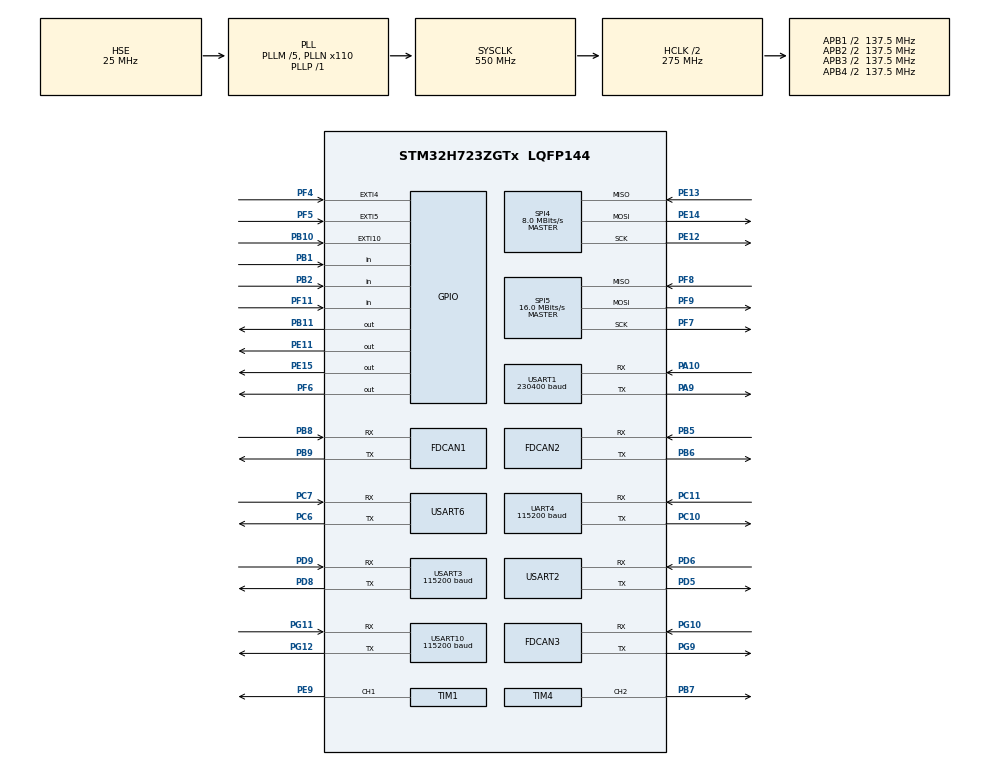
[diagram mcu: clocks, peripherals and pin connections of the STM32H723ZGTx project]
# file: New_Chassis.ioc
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CORTEX_M7.default_mode_Activation=1
Dma.Request0=USART2_RX
Dma.Request1=USART2_TX
Dma.Request2=UART4_RX
Dma.Request3=UART4_TX
Dma.Request4=TIM4_CH2
Dma.Request5=TIM1_CH1
Dma.Request6=USART1_RX
Dma.Request7=USART1_TX
Dma.Request8=USART3_RX
Dma.Request9=USART10_RX
Dma.TIM1_CH1.5.Direction=DMA_MEMORY_TO_PERIPH
Dma.TIM1_CH1.5.EventEnable=DISABLE
Dma.TIM1_CH1.5.FIFOMode=DMA_FIFOMODE_DISABLE
Dma.TIM1_CH1.5.Instance=DMA1_Stream5
Dma.TIM1_CH1.5.MemDataAlignment=DMA_MDATAALIGN_WORD
Dma.TIM1_CH1.5.MemInc=DMA_MINC_ENABLE
Dma.TIM1_CH1.5.Mode=DMA_NORMAL
Dma.TIM1_CH1.5.PeriphDataAlignment=DMA_PDATAALIGN_WORD
Dma.TIM1_CH1.5.PeriphInc=DMA_PINC_DISABLE
Dma.TIM1_CH1.5.Polarity=HAL_DMAMUX_REQ_GEN_RISING
Dma.TIM1_CH1.5.Priority=DMA_PRIORITY_LOW
Dma.TIM1_CH1.5.RequestNumber=1
Dma.TIM1_CH1.5.SignalID=NONE
Dma.TIM1_CH1.5.SyncEnable=DISABLE
Dma.TIM1_CH1.5.SyncPolarity=HAL_DMAMUX_SYNC_NO_EVENT
Dma.TIM1_CH1.5.SyncRequestNumber=1
Dma.TIM1_CH1.5.SyncSignalID=NONE
Dma.TIM4_CH2.4.Direction=DMA_MEMORY_TO_PERIPH
Dma.TIM4_CH2.4.EventEnable=DISABLE
Dma.TIM4_CH2.4.FIFOMode=DMA_FIFOMODE_DISABLE
Dma.TIM4_CH2.4.Instance=DMA1_Stream1
Dma.TIM4_CH2.4.MemDataAlignment=DMA_MDATAALIGN_WORD
Dma.TIM4_CH2.4.MemInc=DMA_MINC_ENABLE
Dma.TIM4_CH2.4.Mode=DMA_NORMAL
Dma.TIM4_CH2.4.PeriphDataAlignment=DMA_PDATAALIGN_WORD
Dma.TIM4_CH2.4.PeriphInc=DMA_PINC_DISABLE
Dma.TIM4_CH2.4.Polarity=HAL_DMAMUX_REQ_GEN_RISING
Dma.TIM4_CH2.4.Priority=DMA_PRIORITY_LOW
Dma.TIM4_CH2.4.RequestNumber=1
Dma.TIM4_CH2.4.SignalID=NONE
Dma.TIM4_CH2.4.SyncEnable=DISABLE
Dma.TIM4_CH2.4.SyncPolarity=HAL_DMAMUX_SYNC_NO_EVENT
Dma.TIM4_CH2.4.SyncRequestNumber=1
Dma.TIM4_CH2.4.SyncSignalID=NONE
Dma.UART4_RX.2.Direction=DMA_PERIPH_TO_MEMORY
Dma.UART4_RX.2.EventEnable=DISABLE
Dma.UART4_RX.2.FIFOMode=DMA_FIFOMODE_DISABLE
Dma.UART4_RX.2.Instance=DMA1_Stream2
Dma.UART4_RX.2.MemDataAlignment=DMA_MDATAALIGN_BYTE
Dma.UART4_RX.2.MemInc=DMA_MINC_ENABLE
Dma.UART4_RX.2.Mode=DMA_NORMAL
Dma.UART4_RX.2.PeriphDataAlignment=DMA_PDATAALIGN_BYTE
Dma.UART4_RX.2.PeriphInc=DMA_PINC_DISABLE
Dma.UART4_RX.2.Polarity=HAL_DMAMUX_REQ_GEN_RISING
Dma.UART4_RX.2.Priority=DMA_PRIORITY_LOW
Dma.UART4_RX.2.RequestNumber=1
Dma.UART4_RX.2.SignalID=NONE
Dma.UART4_RX.2.SyncEnable=DISABLE
Dma.UART4_RX.2.SyncPolarity=HAL_DMAMUX_SYNC_NO_EVENT
Dma.UART4_RX.2.SyncRequestNumber=1
Dma.UART4_RX.2.SyncSignalID=NONE
Dma.UART4_TX.3.Direction=DMA_MEMORY_TO_PERIPH
Dma.UART4_TX.3.EventEnable=DISABLE
Dma.UART4_TX.3.FIFOMode=DMA_FIFOMODE_DISABLE
Dma.UART4_TX.3.Instance=DMA1_Stream4
Dma.UART4_TX.3.MemDataAlignment=DMA_MDATAALIGN_BYTE
Dma.UART4_TX.3.MemInc=DMA_MINC_ENABLE
Dma.UART4_TX.3.Mode=DMA_NORMAL
Dma.UART4_TX.3.PeriphDataAlignment=DMA_PDATAALIGN_BYTE
Dma.UART4_TX.3.PeriphInc=DMA_PINC_DISABLE
Dma.UART4_TX.3.Polarity=HAL_DMAMUX_REQ_GEN_RISING
Dma.UART4_TX.3.Priority=DMA_PRIORITY_LOW
Dma.UART4_TX.3.RequestNumber=1
Dma.UART4_TX.3.SignalID=NONE
Dma.UART4_TX.3.SyncEnable=DISABLE
Dma.UART4_TX.3.SyncPolarity=HAL_DMAMUX_SYNC_NO_EVENT
Dma.UART4_TX.3.SyncRequestNumber=1
Dma.UART4_TX.3.SyncSignalID=NONE
Dma.USART10_RX.9.Direction=DMA_PERIPH_TO_MEMORY
Dma.USART10_RX.9.EventEnable=DISABLE
Dma.USART10_RX.9.FIFOMode=DMA_FIFOMODE_DISABLE
Dma.USART10_RX.9.Instance=DMA2_Stream1
Dma.USART10_RX.9.MemDataAlignment=DMA_MDATAALIGN_BYTE
Dma.USART10_RX.9.MemInc=DMA_MINC_ENABLE
Dma.USART10_RX.9.Mode=DMA_NORMAL
Dma.USART10_RX.9.PeriphDataAlignment=DMA_PDATAALIGN_BYTE
Dma.USART10_RX.9.PeriphInc=DMA_PINC_DISABLE
Dma.USART10_RX.9.Polarity=HAL_DMAMUX_REQ_GEN_RISING
Dma.USART10_RX.9.Priority=DMA_PRIORITY_LOW
Dma.USART10_RX.9.RequestNumber=1
Dma.USART10_RX.9.SignalID=NONE
Dma.USART10_RX.9.SyncEnable=DISABLE
Dma.USART10_RX.9.SyncPolarity=HAL_DMAMUX_SYNC_NO_EVENT
Dma.USART10_RX.9.SyncRequestNumber=1
Dma.USART10_RX.9.SyncSignalID=NONE
Dma.USART1_RX.6.Direction=DMA_PERIPH_TO_MEMORY
Dma.USART1_RX.6.EventEnable=DISABLE
Dma.USART1_RX.6.FIFOMode=DMA_FIFOMODE_DISABLE
Dma.USART1_RX.6.Instance=DMA1_Stream7
Dma.USART1_RX.6.MemDataAlignment=DMA_MDATAALIGN_BYTE
Dma.USART1_RX.6.MemInc=DMA_MINC_ENABLE
Dma.USART1_RX.6.Mode=DMA_NORMAL
Dma.USART1_RX.6.PeriphDataAlignment=DMA_PDATAALIGN_BYTE
Dma.USART1_RX.6.PeriphInc=DMA_PINC_DISABLE
Dma.USART1_RX.6.Polarity=HAL_DMAMUX_REQ_GEN_RISING
Dma.USART1_RX.6.Priority=DMA_PRIORITY_LOW
Dma.USART1_RX.6.RequestNumber=1
Dma.USART1_RX.6.SignalID=NONE
Dma.USART1_RX.6.SyncEnable=DISABLE
Dma.USART1_RX.6.SyncPolarity=HAL_DMAMUX_SYNC_NO_EVENT
Dma.USART1_RX.6.SyncRequestNumber=1
Dma.USART1_RX.6.SyncSignalID=NONE
Dma.USART1_TX.7.Direction=DMA_MEMORY_TO_PERIPH
Dma.USART1_TX.7.EventEnable=DISABLE
Dma.USART1_TX.7.FIFOMode=DMA_FIFOMODE_DISABLE
Dma.USART1_TX.7.Instance=DMA2_Stream0
Dma.USART1_TX.7.MemDataAlignment=DMA_MDATAALIGN_BYTE
Dma.USART1_TX.7.MemInc=DMA_MINC_ENABLE
Dma.USART1_TX.7.Mode=DMA_NORMAL
Dma.USART1_TX.7.PeriphDataAlignment=DMA_PDATAALIGN_BYTE
Dma.USART1_TX.7.PeriphInc=DMA_PINC_DISABLE
Dma.USART1_TX.7.Polarity=HAL_DMAMUX_REQ_GEN_RISING
Dma.USART1_TX.7.Priority=DMA_PRIORITY_LOW
Dma.USART1_TX.7.RequestNumber=1
Dma.USART1_TX.7.SignalID=NONE
Dma.USART1_TX.7.SyncEnable=DISABLE
Dma.USART1_TX.7.SyncPolarity=HAL_DMAMUX_SYNC_NO_EVENT
Dma.USART1_TX.7.SyncRequestNumber=1
Dma.USART1_TX.7.SyncSignalID=NONE
Dma.USART2_RX.0.Direction=DMA_PERIPH_TO_MEMORY
Dma.USART2_RX.0.EventEnable=DISABLE
Dma.USART2_RX.0.FIFOMode=DMA_FIFOMODE_DISABLE
Dma.USART2_RX.0.Instance=DMA1_Stream0
Dma.USART2_RX.0.MemDataAlignment=DMA_MDATAALIGN_BYTE
Dma.USART2_RX.0.MemInc=DMA_MINC_ENABLE
Dma.USART2_RX.0.Mode=DMA_NORMAL
Dma.USART2_RX.0.PeriphDataAlignment=DMA_PDATAALIGN_BYTE
Dma.USART2_RX.0.PeriphInc=DMA_PINC_DISABLE
Dma.USART2_RX.0.Polarity=HAL_DMAMUX_REQ_GEN_RISING
Dma.USART2_RX.0.Priority=DMA_PRIORITY_LOW
Dma.USART2_RX.0.RequestNumber=1
Dma.USART2_RX.0.SignalID=NONE
Dma.USART2_RX.0.SyncEnable=DISABLE
Dma.USART2_RX.0.SyncPolarity=HAL_DMAMUX_SYNC_NO_EVENT
Dma.USART2_RX.0.SyncRequestNumber=1
Dma.USART2_RX.0.SyncSignalID=NONE
Dma.USART2_TX.1.Direction=DMA_MEMORY_TO_PERIPH
Dma.USART2_TX.1.EventEnable=DISABLE
Dma.USART2_TX.1.FIFOMode=DMA_FIFOMODE_DISABLE
Dma.USART2_TX.1.Instance=DMA1_Stream3
Dma.USART2_TX.1.MemDataAlignment=DMA_MDATAALIGN_BYTE
Dma.USART2_TX.1.MemInc=DMA_MINC_ENABLE
Dma.USART2_TX.1.Mode=DMA_NORMAL
Dma.USART2_TX.1.PeriphDataAlignment=DMA_PDATAALIGN_BYTE
Dma.USART2_TX.1.PeriphInc=DMA_PINC_DISABLE
Dma.USART2_TX.1.Polarity=HAL_DMAMUX_REQ_GEN_RISING
Dma.USART2_TX.1.Priority=DMA_PRIORITY_LOW
Dma.USART2_TX.1.RequestNumber=1
Dma.USART2_TX.1.SignalID=NONE
Dma.USART2_TX.1.SyncEnable=DISABLE
Dma.USART2_TX.1.SyncPolarity=HAL_DMAMUX_SYNC_NO_EVENT
Dma.USART2_TX.1.SyncRequestNumber=1
Dma.USART2_TX.1.SyncSignalID=NONE
Dma.USART3_RX.8.Direction=DMA_PERIPH_TO_MEMORY
Dma.USART3_RX.8.EventEnable=DISABLE
Dma.USART3_RX.8.FIFOMode=DMA_FIFOMODE_DISABLE
Dma.USART3_RX.8.Instance=DMA1_Stream6
Dma.USART3_RX.8.MemDataAlignment=DMA_MDATAALIGN_BYTE
Dma.USART3_RX.8.MemInc=DMA_MINC_ENABLE
Dma.USART3_RX.8.Mode=DMA_NORMAL
Dma.USART3_RX.8.PeriphDataAlignment=DMA_PDATAALIGN_BYTE
Dma.USART3_RX.8.PeriphInc=DMA_PINC_DISABLE
Dma.USART3_RX.8.Polarity=HAL_DMAMUX_REQ_GEN_RISING
Dma.USART3_RX.8.Priority=DMA_PRIORITY_LOW
Dma.USART3_RX.8.RequestNumber=1
Dma.USART3_RX.8.SignalID=NONE
Dma.USART3_RX.8.SyncEnable=DISABLE
Dma.USART3_RX.8.SyncPolarity=HAL_DMAMUX_SYNC_NO_EVENT
Dma.USART3_RX.8.SyncRequestNumber=1
Dma.USART3_RX.8.SyncSignalID=NONE
FDCAN1.CalculateBaudRateNominal=1000000
FDCAN1.CalculateTimeBitNominal=1000
FDCAN1.CalculateTimeQuantumNominal=100.0
FDCAN1.DataPrescaler=12
FDCAN1.DataTimeSeg1=2
FDCAN1.DataTimeSeg2=2
FDCAN1.ExtFiltersNbr=1
FDCAN1.FrameFormat=FDCAN_FRAME_FD_BRS
FDCAN1.NominalPrescaler=12
FDCAN1.NominalTimeSeg1=7
FDCAN1.NominalTimeSeg2=2
FDCAN1.RxBufferSize=FDCAN_DATA_BYTES_64
FDCAN1.RxBuffersNbr=8
FDCAN1.RxFifo0ElmtSize=FDCAN_DATA_BYTES_64
FDCAN1.RxFifo0ElmtsNbr=8
FDCAN1.RxFifo1ElmtSize=FDCAN_DATA_BYTES_64
FDCAN1.RxFifo1ElmtsNbr=8
FDCAN1.StdFiltersNbr=1
FDCAN1.TxBuffersNbr=0
FDCAN1.TxElmtSize=FDCAN_DATA_BYTES_64
FDCAN1.TxFifoQueueElmtsNbr=8
FDCAN2.CalculateBaudRateNominal=500000
FDCAN2.CalculateTimeBitNominal=2000
FDCAN2.CalculateTimeQuantumNominal=100.0
FDCAN2.ExtFiltersNbr=1
FDCAN2.MessageRAMOffset=666
FDCAN2.NominalPrescaler=12
FDCAN2.NominalTimeSeg1=15
FDCAN2.NominalTimeSeg2=4
FDCAN2.RxBufferSize=FDCAN_DATA_BYTES_64
FDCAN2.RxBuffersNbr=8
FDCAN2.RxFifo0ElmtSize=FDCAN_DATA_BYTES_64
FDCAN2.RxFifo0ElmtsNbr=8
FDCAN2.RxFifo1ElmtSize=FDCAN_DATA_BYTES_64
FDCAN2.RxFifo1ElmtsNbr=8
FDCAN2.StdFiltersNbr=1
FDCAN2.TxBuffersNbr=0
FDCAN2.TxElmtSize=FDCAN_DATA_BYTES_64
FDCAN2.TxFifoQueueElmtsNbr=8
FDCAN3.AutoRetransmission=DISABLE
FDCAN3.CalculateBaudRateNominal=1000000
FDCAN3.CalculateTimeBitNominal=1000
FDCAN3.CalculateTimeQuantumNominal=50.0
FDCAN3.DataPrescaler=6
FDCAN3.DataSyncJumpWidth=1
FDCAN3.DataTimeSeg1=7
FDCAN3.DataTimeSeg2=2
FDCAN3.ExtFiltersNbr=1
FDCAN3.FrameFormat=FDCAN_FRAME_FD_BRS
FDCAN3.MessageRAMOffset=666*2
FDCAN3.NominalPrescaler=6
FDCAN3.NominalTimeSeg1=15
FDCAN3.NominalTimeSeg2=4
FDCAN3.RxBufferSize=FDCAN_DATA_BYTES_64
FDCAN3.RxBuffersNbr=8
FDCAN3.RxFifo0ElmtSize=FDCAN_DATA_BYTES_64
FDCAN3.RxFifo0ElmtsNbr=8
FDCAN3.RxFifo1ElmtSize=FDCAN_DATA_BYTES_64
FDCAN3.RxFifo1ElmtsNbr=8
FDCAN3.StdFiltersNbr=1
FDCAN3.TxBuffersNbr=0
FDCAN3.TxElmtSize=FDCAN_DATA_BYTES_64
FDCAN3.TxFifoQueueElmtsNbr=32
FREERTOS.INCLUDE_vTaskDelayUntil=1
FREERTOS.Tasks01=Motor_Control,0,1024,motor_control,As weak,NULL,Dynamic,NULL,NULL;Communication,0,1024,communication,As weak,NULL,Dynamic,NULL,NULL;Location,0,512,location,As weak,NULL,Dynamic,NULL,NULL;myTransmit_task,3,512,StartTransmit_task,As weak,NULL,Dynamic,NULL,NULL;Detect_Wrong,0,512,Detect,As weak,NULL,Dynamic,NULL,NULL;Defense1,0,512,HTMotorControl,As weak,NULL,Dynamic,NULL,NULL;Defense2,-3,512,ParamsChange,As weak,NULL,Dynamic,NULL,NULL
FREERTOS.configTOTAL_HEAP_SIZE=88888
FREERTOS.configUSE_IDLE_HOOK=1
FREERTOS.configUSE_TICK_HOOK=1
Mcu.Family=STM32H7
Mcu.Name=STM32H723ZGTx
Mcu.Package=LQFP144
NVIC.DMA1_Stream0_IRQn=true\:5\:0\:false\:false\:true\:true\:false\:true\:true
NVIC.DMA1_Stream1_IRQn=true\:5\:0\:false\:false\:true\:true\:false\:true\:true
NVIC.DMA1_Stream2_IRQn=true\:5\:0\:false\:false\:true\:true\:false\:true\:true
NVIC.DMA1_Stream3_IRQn=true\:5\:0\:false\:false\:true\:true\:false\:true\:true
NVIC.DMA1_Stream4_IRQn=true\:5\:0\:false\:false\:true\:true\:false\:true\:true
NVIC.DMA1_Stream5_IRQn=true\:5\:0\:false\:false\:true\:true\:false\:true\:true
NVIC.DMA1_Stream6_IRQn=true\:5\:0\:false\:false\:true\:true\:false\:true\:true
NVIC.DMA1_Stream7_IRQn=true\:5\:0\:false\:false\:true\:true\:false\:true\:true
NVIC.DMA2_Stream0_IRQn=true\:5\:0\:false\:false\:true\:true\:false\:true\:true
NVIC.DMA2_Stream1_IRQn=true\:5\:0\:false\:false\:true\:true\:false\:true\:true
NVIC.EXTI15_10_IRQn=true\:5\:0\:false\:false\:true\:true\:true\:true\:true
NVIC.EXTI4_IRQn=true\:5\:0\:false\:false\:true\:true\:true\:true\:true
NVIC.EXTI9_5_IRQn=true\:5\:0\:false\:false\:true\:true\:true\:true\:true
NVIC.FDCAN1_IT0_IRQn=true\:5\:0\:false\:false\:true\:true\:true\:true\:true
NVIC.FDCAN1_IT1_IRQn=true\:5\:0\:false\:false\:true\:true\:true\:true\:true
NVIC.FDCAN2_IT0_IRQn=true\:5\:0\:false\:false\:true\:true\:true\:true\:true
NVIC.FDCAN2_IT1_IRQn=true\:5\:0\:false\:false\:true\:true\:true\:true\:true
NVIC.FDCAN3_IT0_IRQn=true\:5\:0\:false\:false\:true\:true\:true\:true\:true
NVIC.FDCAN3_IT1_IRQn=true\:5\:0\:false\:false\:true\:true\:true\:true\:true
NVIC.PriorityGroup=NVIC_PRIORITYGROUP_4
NVIC.SPI4_IRQn=true\:5\:0\:false\:false\:true\:true\:true\:true\:true
NVIC.TIM2_IRQn=true\:15\:0\:false\:false\:true\:false\:false\:true\:true
NVIC.TIM3_IRQn=true\:5\:0\:false\:false\:true\:true\:true\:true\:true
NVIC.TIM4_IRQn=true\:5\:0\:false\:false\:true\:true\:true\:true\:true
NVIC.TimeBase=TIM2_IRQn
NVIC.TimeBaseIP=TIM2
NVIC.UART4_IRQn=true\:5\:0\:false\:false\:true\:true\:true\:true\:true
NVIC.USART10_IRQn=true\:5\:0\:false\:false\:true\:true\:true\:true\:true
NVIC.USART1_IRQn=true\:5\:0\:false\:false\:true\:true\:true\:true\:true
NVIC.USART2_IRQn=true\:5\:0\:false\:false\:true\:true\:true\:true\:true
NVIC.USART3_IRQn=true\:5\:0\:false\:false\:true\:true\:true\:true\:true
PA10.GPIO_PuPd=GPIO_PULLDOWN
PA10.GPIO_Speed=GPIO_SPEED_FREQ_VERY_HIGH
PA10.Mode=Asynchronous
PA10.Signal=USART1_RX
PA9.GPIO_PuPd=GPIO_PULLDOWN
PA9.GPIO_Speed=GPIO_SPEED_FREQ_VERY_HIGH
PA9.Mode=Asynchronous
PA9.Signal=USART1_TX
PB1.Signal=GPIO_Input
PB10.GPIO_ModeDefaultEXTI=GPIO_MODE_IT_FALLING
PB10.Signal=GPXTI10
PB11.GPIO_ModeDefaultOutputPP=GPIO_MODE_OUTPUT_PP
PB11.GPIO_PuPd=GPIO_PULLDOWN
PB11.PinState=GPIO_PIN_SET
PB11.Signal=GPIO_Output
PB2.Signal=GPIO_Input
PB5.Mode=FDCAN_Activate
PB5.Signal=FDCAN2_RX
PB6.Mode=FDCAN_Activate
PB6.Signal=FDCAN2_TX
PB7.Signal=S_TIM4_CH2
PB8.Mode=FDCAN_Activate
PB8.Signal=FDCAN1_RX
PB9.Mode=FDCAN_Activate
PB9.Signal=FDCAN1_TX
PC10.Mode=Asynchronous
PC10.Signal=UART4_TX
PC11.GPIO_PuPd=GPIO_PULLUP
PC11.Mode=Asynchronous
PC11.Signal=UART4_RX
PC6.Mode=Asynchronous
PC6.Signal=USART6_TX
PC7.Mode=Asynchronous
PC7.Signal=USART6_RX
PD5.GPIO_PuPd=GPIO_PULLUP
PD5.Mode=Asynchronous
PD5.Signal=USART2_TX
PD6.GPIO_PuPd=GPIO_PULLUP
PD6.Mode=Asynchronous
PD6.Signal=USART2_RX
PD8.GPIO_PuPd=GPIO_PULLUP
PD8.Mode=Asynchronous
PD8.Signal=USART3_TX
PD9.GPIO_PuPd=GPIO_PULLUP
PD9.Mode=Asynchronous
PD9.Signal=USART3_RX
PE11.Signal=GPIO_Output
PE12.Mode=Full_Duplex_Master
PE12.Signal=SPI4_SCK
PE13.Mode=Full_Duplex_Master
PE13.Signal=SPI4_MISO
PE14.Mode=Full_Duplex_Master
PE14.Signal=SPI4_MOSI
PE15.Signal=GPIO_Output
PE9.Signal=S_TIM1_CH1
PF11.Signal=GPIO_Input
PF4.GPIO_ModeDefaultEXTI=GPIO_MODE_IT_FALLING
PF4.GPIO_PuPd=GPIO_PULLUP
PF4.Signal=GPXTI4
PF5.GPIO_ModeDefaultEXTI=GPIO_MODE_IT_FALLING
PF5.GPIO_PuPd=GPIO_PULLUP
PF5.Signal=GPXTI5
PF6.GPIO_PuPd=GPIO_PULLUP
PF6.GPIO_Speed=GPIO_SPEED_FREQ_HIGH
PF6.PinState=GPIO_PIN_RESET
PF6.Signal=GPIO_Output
PF7.Mode=Full_Duplex_Master
PF7.Signal=SPI5_SCK
PF8.Mode=Full_Duplex_Master
PF8.Signal=SPI5_MISO
PF9.Mode=Full_Duplex_Master
PF9.Signal=SPI5_MOSI
PG10.Mode=FDCAN_Activate
PG10.Signal=FDCAN3_RX
PG11.Mode=Asynchronous
PG11.Signal=USART10_RX
PG12.GPIO_PuPd=GPIO_PULLDOWN
PG12.Mode=Asynchronous
PG12.Signal=USART10_TX
PG9.Mode=FDCAN_Activate
PG9.Signal=FDCAN3_TX
PH0-OSC_IN.Mode=HSE-External-Oscillator
PH0-OSC_IN.Signal=RCC_OSC_IN
PH1-OSC_OUT.Mode=HSE-External-Oscillator
PH1-OSC_OUT.Signal=RCC_OSC_OUT
ProjectManager.HeapSize=0x200
ProjectManager.StackSize=0x400
ProjectManager.TargetToolchain=MDK-ARM V5.32
RCC.ADCCLockSelection=RCC_ADCCLKSOURCE_PLL2
RCC.ADCFreq_Value=120000000
RCC.APB1Freq_Value=137500000
RCC.APB2Freq_Value=137500000
RCC.APB3Freq_Value=137500000
RCC.APB4Freq_Value=137500000
RCC.CECCLockSelection=RCC_CECCLKSOURCE_LSI
RCC.CKPERSourceSelection=RCC_CLKPSOURCE_HSI
RCC.CSI_VALUE=4000000
RCC.CortexFreq_Value=550000000
RCC.Cortex_Div=SYSTICK_CLKSOURCE_HCLK
RCC.Cortex_DivARG=SystemCoreClock/1000
RCC.D1CPRE=RCC_SYSCLK_DIV1
RCC.D1PPRE=RCC_APB3_DIV2
RCC.D2PPRE1=RCC_APB1_DIV2
RCC.D2PPRE2=RCC_APB2_DIV2
RCC.D3PPRE=RCC_APB4_DIV2
RCC.DFSDMCLockSelection=RCC_DFSDM1CLKSOURCE_D2PCLK1
RCC.DIVM1=5
RCC.DIVM2=25
RCC.DIVM3=5
RCC.DIVN1=110
RCC.DIVN2=240
RCC.DIVN3=96
RCC.DIVP1=1
RCC.DIVP2=2
RCC.DIVP3=2
RCC.DIVQ1=2
RCC.DIVQ3=15
RCC.DIVR1=2
RCC.DIVR2=2
RCC.DIVR3=2
RCC.EXTERNAL_CLOCK_VALUE=12288000
RCC.EnbaleCSS=false
RCC.FDCANCLockSelection=RCC_FDCANCLKSOURCE_PLL2
RCC.FMCCLockSelection=RCC_FMCCLKSOURCE_D1HCLK
RCC.HCLKFreq_Value=275000000
RCC.HPRE=RCC_HCLK_DIV2
RCC.HSE_VALUE=25000000
RCC.HSI48_VALUE=48000000
RCC.HSIDiv=RCC_PLLSAIDIVR_1
RCC.HSI_VALUE=64000000
RCC.I2C123CLockSelection=RCC_I2C1235CLKSOURCE_D2PCLK1
RCC.I2C4CLockSelection=RCC_I2C4CLKSOURCE_D3PCLK1
RCC.LPTIM1CLockSelection=RCC_LPTIM1CLKSOURCE_D2PCLK1
RCC.LPTIM2CLockSelection=RCC_LPTIM2CLKSOURCE_D3PCLK1
RCC.LPTIM345CLockSelection=RCC_LPTIM345CLKSOURCE_D3PCLK1
RCC.LPUART1CLockSelection=RCC_LPUART1CLKSOURCE_D3PCLK1
RCC.LSEState=RCC_LSE_OFF
RCC.LSE_VALUE=32768
RCC.PLLSourceVirtual=RCC_PLLSOURCE_HSE
RCC.QSPICLockSelection=RCC_OSPICLKSOURCE_D1HCLK
RCC.RCC_MCO1Source=RCC_MCO1SOURCE_HSI
RCC.RCC_MCO2Source=RCC_MCO2SOURCE_SYSCLK
RCC.RCC_MCODiv1=RCC_MCODIV_1
RCC.RCC_MCODiv2=RCC_MCODIV_1
RCC.RCC_RTC_Clock_Source_FROM_HSE=RCC_RTCCLKSOURCE_HSE_DIV2
RCC.RNGCLockSelection=RCC_RNGCLKSOURCE_HSI48
RCC.SAI1CLockSelection=RCC_SAI1CLKSOURCE_PLL
RCC.SAI4ACLockSelection=RCC_SAI4ACLKSOURCE_PLL
RCC.SAI4BCLockSelection=RCC_SAI4BCLKSOURCE_PLL
RCC.SPDIFCLockSelection=RCC_SPDIFRXCLKSOURCE_PLL
RCC.SPI123CLockSelection=RCC_SPI123CLKSOURCE_PLL
RCC.SPI6CLockSelection=RCC_SPI6CLKSOURCE_D3PCLK1
RCC.SWPCLockSelection=RCC_SWPMI1CLKSOURCE_D2PCLK1
RCC.SYSCLKFreq_VALUE=550000000
RCC.SYSCLKSource=RCC_SYSCLKSOURCE_PLLCLK
RCC.Spi45ClockSelection=RCC_SPI45CLKSOURCE_PLL3
RCC.USART16CLockSelection=RCC_USART16910CLKSOURCE_PLL2
RCC.USART234578CLockSelection=RCC_USART234578CLKSOURCE_PLL2
RCC.USBCLockSelection=RCC_USBCLKSOURCE_PLL
RCC.USBFreq_Value=275000000
SH.S_TIM1_CH1.0=TIM1_CH1,PWM Generation1 CH1
SH.S_TIM4_CH2.0=TIM4_CH2,PWM Generation2 CH2
SPI4.BaudRatePrescaler=SPI_BAUDRATEPRESCALER_4
SPI4.CalculateBaudRate=8.0 MBits/s
SPI4.DataSize=SPI_DATASIZE_8BIT
SPI4.Direction=SPI_DIRECTION_2LINES
SPI4.Mode=SPI_MODE_MASTER
SPI4.VirtualType=VM_MASTER
SPI5.BaudRatePrescaler=SPI_BAUDRATEPRESCALER_2
SPI5.CalculateBaudRate=16.0 MBits/s
SPI5.DataSize=SPI_DATASIZE_8BIT
SPI5.Direction=SPI_DIRECTION_2LINES
SPI5.Mode=SPI_MODE_MASTER
SPI5.VirtualType=VM_MASTER
TIM1.Channel-PWM\ Generation1\ CH1=TIM_CHANNEL_1
TIM3.AutoReloadPreload=TIM_AUTORELOAD_PRELOAD_ENABLE
TIM3.Period=100
TIM3.Prescaler=274
TIM4.AutoReloadPreload=TIM_AUTORELOAD_PRELOAD_DISABLE
TIM4.Channel-PWM\ Generation1\ CH1=TIM_CHANNEL_1
TIM4.Channel-PWM\ Generation2\ CH2=TIM_CHANNEL_2
TIM4.OCFastMode_PWM-PWM\ Generation2\ CH2=TIM_OCFAST_ENABLE
TIM4.Period=342
UART4.BaudRate=115200
USART1.BaudRate=230400
USART1.VirtualMode-Asynchronous=VM_ASYNC
USART10.BaudRate=115200
USART10.VirtualMode-Asynchronous=VM_ASYNC
USART2.VirtualMode-Asynchronous=VM_ASYNC
USART3.BaudRate=115200
USART3.VirtualMode-Asynchronous=VM_ASYNC
USART6.VirtualMode-Asynchronous=VM_ASYNC
VP_FREERTOS_VS_CMSIS_V1.Mode=CMSIS_V1
VP_MEMORYMAP_VS_MEMORYMAP.Mode=CurAppReg
VP_SYS_VS_tim2.Mode=TIM2
VP_TIM1_VS_ClockSourceINT.Mode=Internal
VP_TIM3_VS_ClockSourceINT.Mode=Internal
VP_TIM4_VS_ClockSourceINT.Mode=Internal
board=custom

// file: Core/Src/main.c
/* USER CODE BEGIN Header */
/**
  ******************************************************************************
  * @file           : main.c
  * @brief          : Main program body
  ******************************************************************************
  * @attention
  *
  * Copyright (c) 2025 STMicroelectronics.
  * All rights reserved.
  *
  * This software is licensed under terms that can be found in the LICENSE file
  * in the root directory of this software component.
  * If no LICENSE file comes with this software, it is provided AS-IS.
  *
  ******************************************************************************
  */
/* USER CODE END Header */
#include "main.h"
#include "cmsis_os.h"
#include "dma.h"
#include "fdcan.h"
#include "memorymap.h"
#include "spi.h"
#include "tim.h"
#include "usart.h"
#include "gpio.h"

/* USER CODE BEGIN Includes */
#include "SPI_FDCAN.h"
#include "Television.h"
#include "CPU_Load.h"
#include "Interact.h"
#include "Chassis.h"
#include "Can_Bsp.h"
#include "Encoder.h"
#include <string.h>
#include "Global.h"
#include "Basket.h"
#include "Kalman.h"
#include "Guard.h"
#include "Flow.h"
#include "mine.h"
#include "Send.h"
#include "Gyro.h"
#include "RGB.h"
/* USER CODE END Includes */

/* USER CODE BEGIN PV */
FDCAN_RxHeaderTypeDef RxHeader;
/* USER CODE END PV */

void SystemClock_Config(void);
void PeriphCommonClock_Config(void);
static void MPU_Config(void);
void MX_FREERTOS_Init(void);

int main(void)
{

  /* MPU Configuration--------------------------------------------------------*/
  MPU_Config();

  /* MCU Configuration--------------------------------------------------------*/

  /* Reset of all peripherals, Initializes the Flash interface and the Systick. */
  HAL_Init();

  /* Configure the system clock */
  SystemClock_Config();

  /* Configure the peripherals common clocks */
  PeriphCommonClock_Config();

  /* Initialize all configured peripherals */
  MX_GPIO_Init();
  MX_DMA_Init();
  MX_FDCAN1_Init();
  MX_FDCAN2_Init();
  MX_USART2_UART_Init();
  MX_FDCAN3_Init();
  MX_USART10_UART_Init();
  MX_TIM4_Init();
  MX_UART4_Init();
  MX_TIM1_Init();
  MX_USART1_UART_Init();
  MX_USART3_UART_Init();
  MX_USART6_UART_Init();
  MX_TIM3_Init();
  MX_SPI4_Init();
  MX_SPI5_Init();
  /* USER CODE BEGIN 2 */
	FDCAN4_Init();
	RGB_Init();
	Gyro_Init();
	GamePad_Init();
	Encoder_Init();
	TurnMotor_OffsetAngleInit();
	Wireless_init();
	Correct_Angle_Par_Init();
	Mark_PID_Par_Init();
	Guard_Trace_Par_Init();
	BasketAngleLock_ParInit();
	BasketPositionLock_ParInit();
	CPU_Usage_Init();
	SecondOrder_KalmanSystemInit();
  /* USER CODE END 2 */

  /* Call init function for freertos objects (in cmsis_os2.c) */
  MX_FREERTOS_Init();

  /* Start scheduler */
  osKernelStart();

  /* We should never get here as control is now taken by the scheduler */

  /* Infinite loop */
  while (1)
  {

  }
}

void SystemClock_Config(void)
{
  RCC_OscInitTypeDef RCC_OscInitStruct = {0};
  RCC_ClkInitTypeDef RCC_ClkInitStruct = {0};

  /** Supply configuration update enable
  */
  HAL_PWREx_ConfigSupply(PWR_LDO_SUPPLY);

  /** Configure the main internal regulator output voltage
  */
  __HAL_PWR_VOLTAGESCALING_CONFIG(PWR_REGULATOR_VOLTAGE_SCALE0);

  while(!__HAL_PWR_GET_FLAG(PWR_FLAG_VOSRDY)) {}

  /** Initializes the RCC Oscillators according to the specified parameters
  * in the RCC_OscInitTypeDef structure.
  */
  RCC_OscInitStruct.OscillatorType = RCC_OSCILLATORTYPE_HSE;
  RCC_OscInitStruct.HSEState = RCC_HSE_ON;
  RCC_OscInitStruct.PLL.PLLState = RCC_PLL_ON;
  RCC_OscInitStruct.PLL.PLLSource = RCC_PLLSOURCE_HSE;
  RCC_OscInitStruct.PLL.PLLM = 5;
  RCC_OscInitStruct.PLL.PLLN = 110;
  RCC_OscInitStruct.PLL.PLLP = 1;
  RCC_OscInitStruct.PLL.PLLQ = 2;
  RCC_OscInitStruct.PLL.PLLR = 2;
  RCC_OscInitStruct.PLL.PLLRGE = RCC_PLL1VCIRANGE_2;
  RCC_OscInitStruct.PLL.PLLVCOSEL = RCC_PLL1VCOWIDE;
  RCC_OscInitStruct.PLL.PLLFRACN = 0;
  if (HAL_RCC_OscConfig(&RCC_OscInitStruct) != HAL_OK)
  {
    Error_Handler();
  }

  /** Initializes the CPU, AHB and APB buses clocks
  */
  RCC_ClkInitStruct.ClockType = RCC_CLOCKTYPE_HCLK|RCC_CLOCKTYPE_SYSCLK
                              |RCC_CLOCKTYPE_PCLK1|RCC_CLOCKTYPE_PCLK2
                              |RCC_CLOCKTYPE_D3PCLK1|RCC_CLOCKTYPE_D1PCLK1;
  RCC_ClkInitStruct.SYSCLKSource = RCC_SYSCLKSOURCE_PLLCLK;
  RCC_ClkInitStruct.SYSCLKDivider = RCC_SYSCLK_DIV1;
  RCC_ClkInitStruct.AHBCLKDivider = RCC_HCLK_DIV2;
  RCC_ClkInitStruct.APB3CLKDivider = RCC_APB3_DIV2;
  RCC_ClkInitStruct.APB1CLKDivider = RCC_APB1_DIV2;
  RCC_ClkInitStruct.APB2CLKDivider = RCC_APB2_DIV2;
  RCC_ClkInitStruct.APB4CLKDivider = RCC_APB4_DIV2;

  if (HAL_RCC_ClockConfig(&RCC_ClkInitStruct, FLASH_LATENCY_3) != HAL_OK)
  {
    Error_Handler();
  }
}

void PeriphCommonClock_Config(void)
{
  RCC_PeriphCLKInitTypeDef PeriphClkInitStruct = {0};

  /** Initializes the peripherals clock
  */
  PeriphClkInitStruct.PeriphClockSelection = RCC_PERIPHCLK_SPI4|RCC_PERIPHCLK_SPI5
                              |RCC_PERIPHCLK_FDCAN|RCC_PERIPHCLK_USART1
                              |RCC_PERIPHCLK_USART6|RCC_PERIPHCLK_USART10
                              |RCC_PERIPHCLK_UART4|RCC_PERIPHCLK_USART2
                              |RCC_PERIPHCLK_USART3;
  PeriphClkInitStruct.PLL2.PLL2M = 25;
  PeriphClkInitStruct.PLL2.PLL2N = 240;
  PeriphClkInitStruct.PLL2.PLL2P = 2;
  PeriphClkInitStruct.PLL2.PLL2Q = 2;
  PeriphClkInitStruct.PLL2.PLL2R = 2;
  PeriphClkInitStruct.PLL2.PLL2RGE = RCC_PLL2VCIRANGE_0;
  PeriphClkInitStruct.PLL2.PLL2VCOSEL = RCC_PLL2VCOMEDIUM;
  PeriphClkInitStruct.PLL2.PLL2FRACN = 0;
  PeriphClkInitStruct.PLL3.PLL3M = 5;
  PeriphClkInitStruct.PLL3.PLL3N = 96;
  PeriphClkInitStruct.PLL3.PLL3P = 2;
  PeriphClkInitStruct.PLL3.PLL3Q = 15;
  PeriphClkInitStruct.PLL3.PLL3R = 2;
  PeriphClkInitStruct.PLL3.PLL3RGE = RCC_PLL3VCIRANGE_2;
  PeriphClkInitStruct.PLL3.PLL3VCOSEL = RCC_PLL3VCOWIDE;
  PeriphClkInitStruct.PLL3.PLL3FRACN = 0;
  PeriphClkInitStruct.Spi45ClockSelection = RCC_SPI45CLKSOURCE_PLL3;
  PeriphClkInitStruct.FdcanClockSelection = RCC_FDCANCLKSOURCE_PLL2;
  PeriphClkInitStruct.Usart234578ClockSelection = RCC_USART234578CLKSOURCE_PLL2;
  PeriphClkInitStruct.Usart16ClockSelection = RCC_USART16910CLKSOURCE_PLL2;
  if (HAL_RCCEx_PeriphCLKConfig(&PeriphClkInitStruct) != HAL_OK)
  {
    Error_Handler();
  }
}

/* USER CODE BEGIN 4 */
unsigned char Row_Data[64];
void HAL_FDCAN_RxFifo0Callback(FDCAN_HandleTypeDef *hfdcan, uint32_t RxFifo0ITs)
{
	if(hfdcan->Instance == FDCAN1){
		HAL_FDCAN_GetRxMessage(&hfdcan1,FDCAN_RX_FIFO0,&RxHeader,Row_Data);
		Turn_Motor_Decode(RxHeader.Identifier,Row_Data);
		HighTorque_getFedback(&RxHeader, Row_Data);
	}
	if(hfdcan->Instance == FDCAN2){
		HAL_FDCAN_GetRxMessage(&hfdcan2,FDCAN_RX_FIFO0,&RxHeader,Row_Data);
		Get_Encoder_Data(RxHeader.Identifier,Row_Data);
		Get_Gyro_Data(RxHeader.Identifier,Row_Data);
	}
	if(hfdcan->Instance == FDCAN3){
		HAL_FDCAN_GetRxMessage(&hfdcan3,FDCAN_RX_FIFO0,&RxHeader,Row_Data);
		Get_Vision_Data(RxHeader.Identifier,Row_Data);
		Car_State_Decode(RxHeader.Identifier, Row_Data);
	}
}
void SPI_FDCANCallback(int header,unsigned char * Row_Data){
	Get_VESC_Data(header, Row_Data);
}
void HAL_GPIO_EXTI_Callback(uint16_t GPIO_Pin){
  if(GPIO_Pin == GPIO_PIN_5)
		Get_SPIFDCAN_Data();
//  if (GPIO_Pin == GPIO_PIN_4)
//		Get_SPIFDCAN_Data();

}

/* USER CODE END 4 */

 /* MPU Configuration */

void MPU_Config(void)
{
  MPU_Region_InitTypeDef MPU_InitStruct = {0};

  /* Disables the MPU */
  HAL_MPU_Disable();

  /** Initializes and configures the Region and the memory to be protected
  */
  MPU_InitStruct.Enable = MPU_REGION_ENABLE;
  MPU_InitStruct.Number = MPU_REGION_NUMBER0;
  MPU_InitStruct.BaseAddress = 0x0;
  MPU_InitStruct.Size = MPU_REGION_SIZE_4GB;
  MPU_InitStruct.SubRegionDisable = 0x87;
  MPU_InitStruct.TypeExtField = MPU_TEX_LEVEL0;
  MPU_InitStruct.AccessPermission = MPU_REGION_NO_ACCESS;
  MPU_InitStruct.DisableExec = MPU_INSTRUCTION_ACCESS_DISABLE;
  MPU_InitStruct.IsShareable = MPU_ACCESS_SHAREABLE;
  MPU_InitStruct.IsCacheable = MPU_ACCESS_NOT_CACHEABLE;
  MPU_InitStruct.IsBufferable = MPU_ACCESS_NOT_BUFFERABLE;

  HAL_MPU_ConfigRegion(&MPU_InitStruct);
  /* Enables the MPU */
  HAL_MPU_Enable(MPU_PRIVILEGED_DEFAULT);

}

void HAL_TIM_PeriodElapsedCallback(TIM_HandleTypeDef *htim)
{
  if (htim->Instance == TIM2) {
    HAL_IncTick();
  }
  /* USER CODE BEGIN Callback 1 */
	if (htim->Instance == TIM6) {

  }
	if (htim->Instance == TIM3)
		CPU_Tick += 1;

  /* USER CODE END Callback 1 */
}

void Error_Handler(void)
{
  __disable_irq();
  while (1)
  {
  }
}
